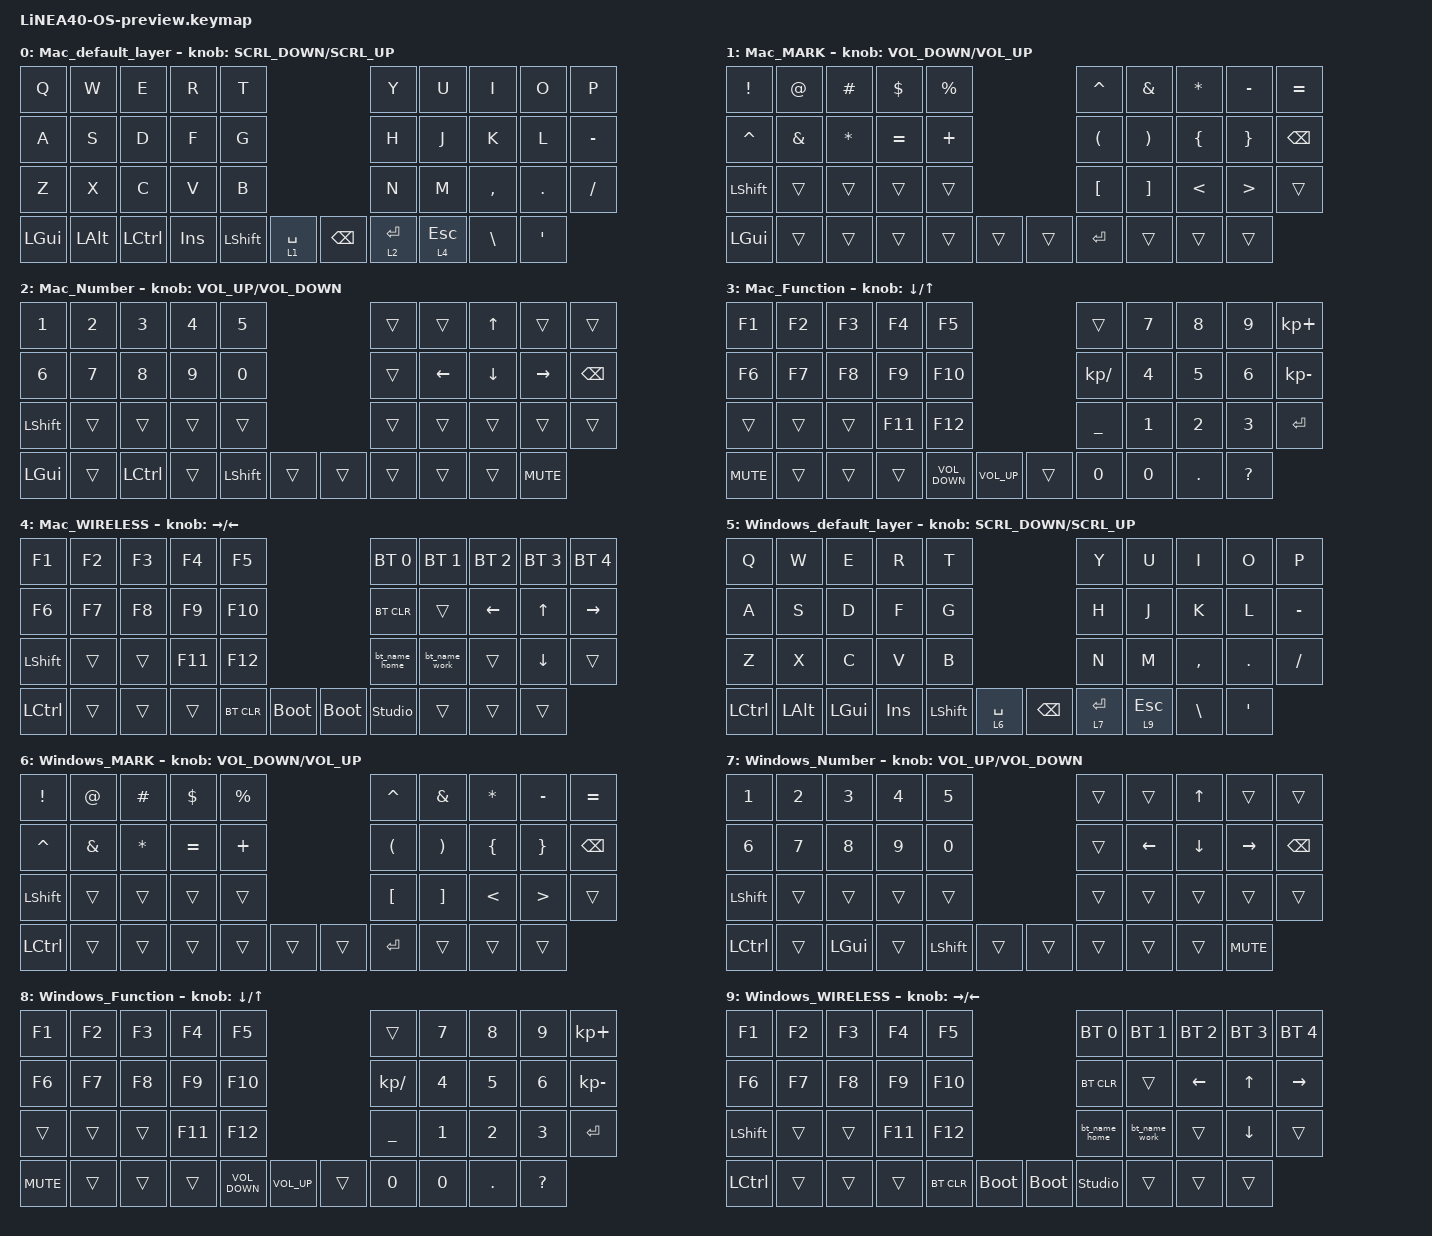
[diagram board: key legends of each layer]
// GENERATED COMPARISON ONLY - do not edit or flash this keymap.
// Edit config/LiNEA40.keymap and dts/behaviors/linea40_profile_keys.dtsi,
// main: GitHub Actions regenerates this file after each source change.
// For local changes, run: make preview
// Windows layers show Bluetooth profile 1; Mac layers show other profiles.
// The firmware build continues to use config/LiNEA40.keymap.

#define ZMK_POINTING_DEFAULT_SCRL_VAL 150

#include <dt-bindings/zmk/input_transform.h>
#include <input/processors.dtsi>
#include <zephyr/dt-bindings/input/input-event-codes.h>
#include <behaviors.dtsi>
#include <behaviors/linea40_bluetooth_names.dtsi>
#include <dt-bindings/zmk/bt.h>
#include <dt-bindings/zmk/keys.h>
#include <dt-bindings/zmk/pointing.h>

#define MARK 1
#define CURSOR 2
#define FUNCTION 3
#define SCROLL 4
#define WIRELESS 5

//mouse cursol

&mmv {
    delay-ms = <20>;
    trigger-period-ms = <5>;
    time-to-max-speed-ms = <100>;
    acceleration-exponent = <2>;
};

//mouse scroll

&msc {
    delay-ms = <3>;
    trigger-period-ms = <3>;
    time-to-max-speed-ms = <100>;
    acceleration-exponent = <0>;
};

/ {
    input_processors {
        zip_wheel_scaler: zip_wheel_scaler {
            compatible = "zmk,input-processor-scaler";
            #input-processor-cells = <2>;
            type = <INPUT_EV_REL>;
            codes = <INPUT_REL_WHEEL>;
            track-remainders;
        };
    };
};

&msc_input_listener {
    speed_up {
        layers = <FUNCTION>;
        input-processors = <&zip_wheel_scaler 3 1>; //スクロールを3倍速にする
    };
};

&trackball_listener {
    scroller {
        layers = <SCROLL>;
        input-processors =
            <&zip_xy_transform INPUT_TRANSFORM_Y_INVERT>,
            //スクロール方向を逆転,,,,,,,,,,,,,,,,,,,,,,,
            <&zip_xy_to_scroll_mapper>;
    };
};

/ {
    combos {
        compatible = "zmk,combos";

        Mac_Tab {
            bindings = <&kp TAB>;
            key-positions = <11 12>;
            layers = <0 1 2 3 4>;
        };

        Windows_Tab {
            bindings = <&kp TAB>;
            key-positions = <11 12>;
            layers = <5 6 7 8 9>;
        };

        Mac_DeleteKey {
            bindings = <&kp DEL>;
            key-positions = <7 8>;
            layers = <0 1 2 3 4>;
        };

        Windows_DeleteKey {
            bindings = <&kp DEL>;
            key-positions = <7 8>;
            layers = <5 6 7 8 9>;
        };

        Mac_LeftClick {
            bindings = <&mkp MB1>;
            key-positions = <16 17>;
            layers = <0 1 2 3 4>;
        };

        Windows_LeftClick {
            bindings = <&mkp MB1>;
            key-positions = <16 17>;
            layers = <5 6 7 8 9>;
        };

        Mac_RightClick {
            bindings = <&mkp MB2>;
            key-positions = <17 18>;
            layers = <0 1 2 3 4>;
        };

        Windows_RightClick {
            bindings = <&mkp MB2>;
            key-positions = <17 18>;
            layers = <5 6 7 8 9>;
        };

        Mac_CenterClick {
            bindings = <&mkp MB3>;
            key-positions = <6 7>;
            layers = <0 1 2 3 4>;
        };

        Windows_CenterClick {
            bindings = <&kp LG(TAB)>;
            key-positions = <6 7>;
            layers = <5 6 7 8 9>;
        };

        Mac_ClickNext {
            bindings = <&mkp MB5>;
            key-positions = <26 27>;
            layers = <0 1 2 3 4>;
        };

        Windows_ClickNext {
            bindings = <&mkp MB5>;
            key-positions = <26 27>;
            layers = <5 6 7 8 9>;
        };

        Mac_inner_paren {
            bindings = <&inner_paren>;
            key-positions = <15 16>;
            layers = <0 1 2 3 4>;
        };

        Windows_inner_paren {
            bindings = <&inner_paren>;
            key-positions = <15 16>;
            layers = <5 6 7 8 9>;
        };

        Mac_inner_brace {
            bindings = <&inner_brace>;
            key-positions = <27 28>;
            layers = <0 1 2 3 4>;
        };

        Windows_inner_brace {
            bindings = <&inner_brace>;
            key-positions = <27 28>;
            layers = <5 6 7 8 9>;
        };

        Mac_inner_bracket {
            bindings = <&inner_bracket>;
            key-positions = <25 26>;
            layers = <0 1 2 3 4>;
        };

        Windows_inner_bracket {
            bindings = <&inner_bracket>;
            key-positions = <25 26>;
            layers = <5 6 7 8 9>;
        };

        Mac_change_source {
            bindings = <&kp LG(SPACE)>;
            key-positions = <10 34>;
            layers = <0 1 2 3 4>;
        };

        Windows_change_source {
            bindings = <&kp LA(GRAVE)>;
            key-positions = <10 34>;
            layers = <5 6 7 8 9>;
        };

        Mac_shift_tab {
            bindings = <&kp LS(TAB)>;
            key-positions = <12 13>;
            layers = <0 1 2 3 4>;
        };

        Windows_shift_tab {
            bindings = <&kp LS(TAB)>;
            key-positions = <12 13>;
            layers = <5 6 7 8 9>;
        };

        Mac_backspace {
            bindings = <&kp MINUS>;
            key-positions = <8 9>;
            layers = <0 1 2 3 4>;
        };

        Windows_backspace {
            bindings = <&kp MINUS>;
            key-positions = <8 9>;
            layers = <5 6 7 8 9>;
        };

        Mac_semicolon {
            bindings = <&kp SEMICOLON>;
            key-positions = <18 19>;
            layers = <0 1 2 3 4>;
        };

        Windows_semicolon {
            bindings = <&kp SEMICOLON>;
            key-positions = <18 19>;
            layers = <5 6 7 8 9>;
        };

        Mac_grave {
            bindings = <&kp GRAVE>;
            key-positions = <1 2>;
            layers = <0 1 2 3 4>;
        };

        Windows_grave {
            bindings = <&kp GRAVE>;
            key-positions = <1 2>;
            layers = <5 6 7 8 9>;
        };

        Mac_tilde {
            bindings = <&kp TILDE>;
            key-positions = <2 3>;
            layers = <0 1 2 3 4>;
        };

        Windows_tilde {
            bindings = <&kp TILDE>;
            key-positions = <2 3>;
            layers = <5 6 7 8 9>;
        };
    };

    behaviors {
        re_kp: sensor_rotate_kp {
            compatible = "zmk,behavior-sensor-rotate-var";
            #sensor-binding-cells = <2>;
            bindings = <&kp>, <&kp>;
        };

        mouse_scrl: mouse_wheel_scrl {
            compatible = "zmk,behavior-sensor-rotate-var";
            #sensor-binding-cells = <2>;
            bindings = <&msc>, <&msc>;

            tap-ms = <20>;
        };
    };

    macros {
        inner_paren: m1 {
            compatible = "zmk,behavior-macro";
            #binding-cells = <0>;
            bindings = <&kp LEFT_PARENTHESIS &kp RIGHT_PARENTHESIS &kp LEFT_ARROW>;
            label = "M1";
        };

        inner_brace: inner_brace {
            compatible = "zmk,behavior-macro";
            #binding-cells = <0>;
            bindings = <&kp LEFT_BRACE &kp RIGHT_BRACE &kp LEFT_ARROW>;
            label = "INNER_BRACE";
        };

        inner_bracket: inner_bracket {
            compatible = "zmk,behavior-macro";
            #binding-cells = <0>;
            bindings = <&kp LEFT_BRACKET &kp RIGHT_BRACKET &kp LEFT_ARROW>;
            label = "INNER_BRACKET";
        };

        inner_angle: inner_angle {
            compatible = "zmk,behavior-macro";
            #binding-cells = <0>;
            bindings = <&kp LESS_THAN &kp GREATER_THAN &kp LEFT_ARROW>;
            label = "INNER_ANGLE";
        };

        inner_quote: inner_quote {
            compatible = "zmk,behavior-macro";
            #binding-cells = <0>;
            bindings = <&kp DOUBLE_QUOTES &kp DOUBLE_QUOTES &kp LEFT_ARROW>;
            label = "INNER_QUOTE";
        };

        inner_single: inner_single {
            compatible = "zmk,behavior-macro";
            #binding-cells = <0>;
            bindings = <&kp SINGLE_QUOTE &kp SINGLE_QUOTE &kp LEFT_ARROW>;
            label = "INNER_SINGLE";
        };

        inner_back: inner_back {
            compatible = "zmk,behavior-macro";
            #binding-cells = <0>;
            bindings = <&kp GRAVE &kp GRAVE &kp LEFT_ARROW>;
            label = "INNER_BACK";
        };
    };

    keymap {
        compatible = "zmk,keymap";

        Mac_default_layer {
            bindings = <
&kp Q         &kp W         &kp E             &kp R    &kp T                                         &kp Y        &kp U  &kp I         &kp O          &kp P
&kp A         &kp S         &kp D             &kp F    &kp G                                         &kp H        &kp J  &kp K         &kp L          &kp MINUS
&kp Z         &kp X         &kp C             &kp V    &kp B                                         &kp N        &kp M  &kp COMMA     &kp DOT        &kp SLASH
&kp LEFT_GUI   &kp LEFT_ALT  &kp LEFT_CONTROL       &kp INS  &kp LEFT_SHIFT  &lt 1 SPACE    &kp BACKSPACE  &lt 2 ENTER         &lt 4 ESCAPE  &kp BACKSLASH  &kp SINGLE_QUOTE
            >;

            sensor-bindings = <&mouse_scrl SCRL_DOWN SCRL_UP>;
        };

        Mac_MARK {
            bindings = <
&kp EXCLAMATION  &kp AT         &kp HASH      &kp DOLLAR  &kp PERCENT                    &kp CARET             &kp AMPERSAND          &kp ASTERISK    &kp MINUS  &kp EQUAL
&kp CARET        &kp AMPERSAND  &kp ASTERISK  &kp EQUAL   &kp PLUS                       &kp LEFT_PARENTHESIS  &kp RIGHT_PARENTHESIS  &kp LEFT_BRACE  &kp RBRC   &kp BACKSPACE
&kp LEFT_SHIFT   &trans         &trans        &trans      &trans                         &kp LEFT_BRACKET      &kp RIGHT_BRACKET      &kp LESS_THAN   &kp GT     &trans
&kp LEFT_GUI      &trans         &trans        &trans      &trans       &trans    &trans  &kp ENTER                                    &trans          &trans     &trans
            >;

            sensor-bindings = <&re_kp C_VOLUME_DOWN C_VOLUME_UP>;
        };

        Mac_Number {
            bindings = <
&kp NUMBER_1    &kp NUMBER_2  &kp NUMBER_3  &kp NUMBER_4  &kp N5                            &trans  &trans          &kp UP_ARROW    &trans           &trans
&kp NUMBER_6    &kp N7        &kp N8        &kp N9        &kp N0                            &trans  &kp LEFT_ARROW  &kp DOWN_ARROW  &kp RIGHT_ARROW  &kp BACKSPACE
&kp LEFT_SHIFT  &trans        &trans        &trans        &trans                            &trans  &trans          &trans          &trans           &trans
&kp LEFT_GUI     &trans        &kp LEFT_CONTROL   &trans        &kp LEFT_SHIFT  &trans    &trans  &trans                  &trans          &trans           &kp K_MUTE
            >;

            sensor-bindings = <&inc_dec_kp C_VOLUME_UP C_VOLUME_DOWN>;
        };

        Mac_Function {
            bindings = <
&kp F1      &kp F2  &kp F3  &kp F4   &kp F5                                        &trans        &kp NUMBER_7  &kp NUMBER_8  &kp NUMBER_9  &kp KP_PLUS
&kp F6      &kp F7  &kp F8  &kp F9   &kp F10                                       &kp KP_SLASH  &kp NUMBER_4  &kp NUMBER_5  &kp NUMBER_6  &kp KP_MINUS
&trans      &trans  &trans  &kp F11  &kp F12                                       &kp UNDER     &kp NUMBER_1  &kp NUMBER_2  &kp NUMBER_3  &kp ENTER
&kp C_MUTE  &trans  &trans  &trans   &kp C_VOLUME_DOWN  &kp C_VOLUME_UP    &trans  &kp NUMBER_0                &kp NUMBER_0  &kp DOT       &kp QUESTION
            >;

            sensor-bindings = <&inc_dec_kp DOWN_ARROW UP_ARROW>;
        };

        Mac_WIRELESS {
            bindings = <
&kp F1          &kp F2  &kp F3  &kp F4   &kp F5                                  &bt BT_SEL 0    &bt BT_SEL 1  &bt BT_SEL 2    &bt BT_SEL 3    &bt BT_SEL 4
&kp F6          &kp F7  &kp F8  &kp F9   &kp F10                                 &bt BT_CLR      &trans        &kp LEFT_ARROW  &kp UP_ARROW    &kp RIGHT_ARROW
&kp LEFT_SHIFT  &trans  &trans  &kp F11  &kp F12                                 &bt_name_home   &bt_name_work &trans          &kp DOWN_ARROW  &trans
&kp LCTRL       &trans  &trans  &trans   &bt BT_CLR  &bootloader    &bootloader  &studio_unlock                &trans          &trans          &trans
            >;

            sensor-bindings = <&inc_dec_kp RIGHT_ARROW LEFT_ARROW>;
        };

        Windows_default_layer {
            bindings = <
&kp Q         &kp W         &kp E             &kp R    &kp T                                         &kp Y        &kp U  &kp I         &kp O          &kp P
&kp A         &kp S         &kp D             &kp F    &kp G                                         &kp H        &kp J  &kp K         &kp L          &kp MINUS
&kp Z         &kp X         &kp C             &kp V    &kp B                                         &kp N        &kp M  &kp COMMA     &kp DOT        &kp SLASH
&kp LEFT_CONTROL   &kp LEFT_ALT  &kp LEFT_GUI       &kp INS  &kp LEFT_SHIFT  &lt 6 SPACE    &kp BACKSPACE  &lt 7 ENTER         &lt 9 ESCAPE  &kp BACKSLASH  &kp SINGLE_QUOTE
            >;

            sensor-bindings = <&mouse_scrl SCRL_DOWN SCRL_UP>;
        };

        Windows_MARK {
            bindings = <
&kp EXCLAMATION  &kp AT         &kp HASH      &kp DOLLAR  &kp PERCENT                    &kp CARET             &kp AMPERSAND          &kp ASTERISK    &kp MINUS  &kp EQUAL
&kp CARET        &kp AMPERSAND  &kp ASTERISK  &kp EQUAL   &kp PLUS                       &kp LEFT_PARENTHESIS  &kp RIGHT_PARENTHESIS  &kp LEFT_BRACE  &kp RBRC   &kp BACKSPACE
&kp LEFT_SHIFT   &trans         &trans        &trans      &trans                         &kp LEFT_BRACKET      &kp RIGHT_BRACKET      &kp LESS_THAN   &kp GT     &trans
&kp LEFT_CONTROL      &trans         &trans        &trans      &trans       &trans    &trans  &kp ENTER                                    &trans          &trans     &trans
            >;

            sensor-bindings = <&re_kp C_VOLUME_DOWN C_VOLUME_UP>;
        };

        Windows_Number {
            bindings = <
&kp NUMBER_1    &kp NUMBER_2  &kp NUMBER_3  &kp NUMBER_4  &kp N5                            &trans  &trans          &kp UP_ARROW    &trans           &trans
&kp NUMBER_6    &kp N7        &kp N8        &kp N9        &kp N0                            &trans  &kp LEFT_ARROW  &kp DOWN_ARROW  &kp RIGHT_ARROW  &kp BACKSPACE
&kp LEFT_SHIFT  &trans        &trans        &trans        &trans                            &trans  &trans          &trans          &trans           &trans
&kp LEFT_CONTROL     &trans        &kp LEFT_GUI   &trans        &kp LEFT_SHIFT  &trans    &trans  &trans                  &trans          &trans           &kp K_MUTE
            >;

            sensor-bindings = <&inc_dec_kp C_VOLUME_UP C_VOLUME_DOWN>;
        };

        Windows_Function {
            bindings = <
&kp F1      &kp F2  &kp F3  &kp F4   &kp F5                                        &trans        &kp NUMBER_7  &kp NUMBER_8  &kp NUMBER_9  &kp KP_PLUS
&kp F6      &kp F7  &kp F8  &kp F9   &kp F10                                       &kp KP_SLASH  &kp NUMBER_4  &kp NUMBER_5  &kp NUMBER_6  &kp KP_MINUS
&trans      &trans  &trans  &kp F11  &kp F12                                       &kp UNDER     &kp NUMBER_1  &kp NUMBER_2  &kp NUMBER_3  &kp ENTER
&kp C_MUTE  &trans  &trans  &trans   &kp C_VOLUME_DOWN  &kp C_VOLUME_UP    &trans  &kp NUMBER_0                &kp NUMBER_0  &kp DOT       &kp QUESTION
            >;

            sensor-bindings = <&inc_dec_kp DOWN_ARROW UP_ARROW>;
        };

        Windows_WIRELESS {
            bindings = <
&kp F1          &kp F2  &kp F3  &kp F4   &kp F5                                  &bt BT_SEL 0    &bt BT_SEL 1  &bt BT_SEL 2    &bt BT_SEL 3    &bt BT_SEL 4
&kp F6          &kp F7  &kp F8  &kp F9   &kp F10                                 &bt BT_CLR      &trans        &kp LEFT_ARROW  &kp UP_ARROW    &kp RIGHT_ARROW
&kp LEFT_SHIFT  &trans  &trans  &kp F11  &kp F12                                 &bt_name_home   &bt_name_work &trans          &kp DOWN_ARROW  &trans
&kp LCTRL       &trans  &trans  &trans   &bt BT_CLR  &bootloader    &bootloader  &studio_unlock                &trans          &trans          &trans
            >;

            sensor-bindings = <&inc_dec_kp RIGHT_ARROW LEFT_ARROW>;
        };
    };
};
